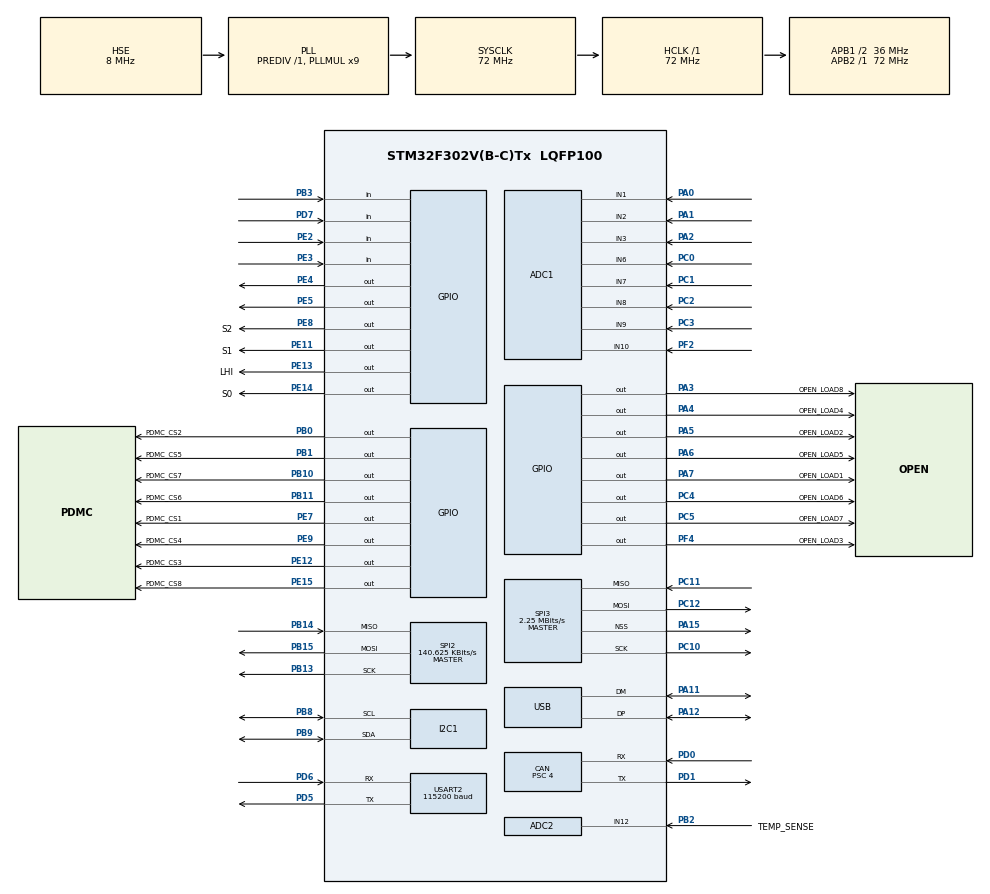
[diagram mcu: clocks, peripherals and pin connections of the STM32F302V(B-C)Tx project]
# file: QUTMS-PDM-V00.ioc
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ADC1.Channel-1\#ChannelRegularConversion=ADC_CHANNEL_1
ADC1.NbrOfConversionFlag=1
ADC1.Offset-1\#ChannelRegularConversion=0
ADC1.OffsetNumber-1\#ChannelRegularConversion=ADC_OFFSET_NONE
ADC1.Rank-1\#ChannelRegularConversion=1
ADC1.SamplingTime-1\#ChannelRegularConversion=ADC_SAMPLETIME_1CYCLE_5
ADC1.SubFamily=STM32F302xC
ADC1.master=1
ADC2.Channel-3\#ChannelRegularConversion=ADC_CHANNEL_12
ADC2.NbrOfConversionFlag=1
ADC2.Offset-3\#ChannelRegularConversion=0
ADC2.OffsetNumber-3\#ChannelRegularConversion=ADC_OFFSET_NONE
ADC2.Rank-3\#ChannelRegularConversion=1
ADC2.SamplingTime-3\#ChannelRegularConversion=ADC_SAMPLETIME_1CYCLE_5
ADC2.SamplingTimeOPAMP-3\#ChannelRegularConversion=ADC_SAMPLETIME_61CYCLES_5
ADC2.SubFamily=STM32F302xC
CAN.BS1=CAN_BS1_15TQ
CAN.BS2=CAN_BS2_2TQ
CAN.CalculateTimeQuantum=111.11111111111111
CAN.Prescaler=4
Mcu.Family=STM32F3
Mcu.Name=STM32F302V(B-C)Tx
Mcu.Package=LQFP100
NVIC.PriorityGroup=NVIC_PRIORITYGROUP_4
NVIC.TIM2_IRQn=true\:0\:0\:false\:false\:true\:true\:true
NVIC.TIM3_IRQn=true\:0\:0\:false\:false\:true\:true\:true
NVIC.TIM4_IRQn=true\:0\:0\:false\:false\:true\:true\:true
NVIC.USB_LP_IRQn=true\:0\:0\:false\:false\:true\:false\:true
PA0.GPIO_Mode=GPIO_MODE_ANALOG
PA0.GPIO_PuPd=GPIO_NOPULL
PA0.Mode=IN1-Single-Ended
PA0.Signal=ADC1_IN1
PA1.GPIO_Mode=GPIO_MODE_ANALOG
PA1.GPIO_PuPd=GPIO_NOPULL
PA1.Mode=IN2-Single-Ended
PA1.Signal=ADC1_IN2
PA11.Mode=Device
PA11.Signal=USB_DM
PA12.Mode=Device
PA12.Signal=USB_DP
PA13.Mode=Serial_Wire
PA13.Signal=SYS_JTMS-SWDIO
PA14.Mode=Serial_Wire
PA14.Signal=SYS_JTCK-SWCLK
PA15.Mode=NSS_Signal_Hard_Output
PA15.Signal=SPI3_NSS
PA2.GPIO_Mode=GPIO_MODE_ANALOG
PA2.GPIO_PuPd=GPIO_NOPULL
PA2.Mode=IN3-Single-Ended
PA2.Signal=ADC1_IN3
PA3.GPIO_Label=OPEN_LOAD8
PA3.GPIO_ModeDefaultOutputPP=GPIO_MODE_OUTPUT_PP
PA3.GPIO_PuPd=GPIO_NOPULL
PA3.GPIO_Speed=GPIO_SPEED_FREQ_LOW
PA3.PinState=GPIO_PIN_RESET
PA3.Signal=GPIO_Output
PA4.GPIO_Label=OPEN_LOAD4
PA4.GPIO_ModeDefaultOutputPP=GPIO_MODE_OUTPUT_PP
PA4.GPIO_PuPd=GPIO_NOPULL
PA4.GPIO_Speed=GPIO_SPEED_FREQ_LOW
PA4.PinState=GPIO_PIN_RESET
PA4.Signal=GPIO_Output
PA5.GPIO_Label=OPEN_LOAD2
PA5.GPIO_ModeDefaultOutputPP=GPIO_MODE_OUTPUT_PP
PA5.GPIO_PuPd=GPIO_NOPULL
PA5.GPIO_Speed=GPIO_SPEED_FREQ_LOW
PA5.PinState=GPIO_PIN_RESET
PA5.Signal=GPIO_Output
PA6.GPIO_Label=OPEN_LOAD5
PA6.GPIO_ModeDefaultOutputPP=GPIO_MODE_OUTPUT_PP
PA6.GPIO_PuPd=GPIO_NOPULL
PA6.GPIO_Speed=GPIO_SPEED_FREQ_LOW
PA6.PinState=GPIO_PIN_RESET
PA6.Signal=GPIO_Output
PA7.GPIO_Label=OPEN_LOAD1
PA7.GPIO_ModeDefaultOutputPP=GPIO_MODE_OUTPUT_PP
PA7.GPIO_PuPd=GPIO_NOPULL
PA7.GPIO_Speed=GPIO_SPEED_FREQ_LOW
PA7.PinState=GPIO_PIN_RESET
PA7.Signal=GPIO_Output
PB0.GPIO_Label=PDMC_CS2
PB0.GPIO_ModeDefaultOutputPP=GPIO_MODE_OUTPUT_PP
PB0.GPIO_PuPd=GPIO_NOPULL
PB0.GPIO_Speed=GPIO_SPEED_FREQ_LOW
PB0.PinState=GPIO_PIN_RESET
PB0.Signal=GPIO_Output
PB1.GPIO_Label=PDMC_CS5
PB1.GPIO_ModeDefaultOutputPP=GPIO_MODE_OUTPUT_PP
PB1.GPIO_PuPd=GPIO_NOPULL
PB1.GPIO_Speed=GPIO_SPEED_FREQ_LOW
PB1.PinState=GPIO_PIN_RESET
PB1.Signal=GPIO_Output
PB10.GPIO_Label=PDMC_CS7
PB10.GPIO_ModeDefaultOutputPP=GPIO_MODE_OUTPUT_PP
PB10.GPIO_PuPd=GPIO_NOPULL
PB10.GPIO_Speed=GPIO_SPEED_FREQ_LOW
PB10.PinState=GPIO_PIN_RESET
PB10.Signal=GPIO_Output
PB11.GPIO_Label=PDMC_CS6
PB11.GPIO_ModeDefaultOutputPP=GPIO_MODE_OUTPUT_PP
PB11.GPIO_PuPd=GPIO_NOPULL
PB11.GPIO_Speed=GPIO_SPEED_FREQ_LOW
PB11.PinState=GPIO_PIN_RESET
PB11.Signal=GPIO_Output
PB13.Mode=Full_Duplex_Master
PB13.Signal=SPI2_SCK
PB14.Mode=Full_Duplex_Master
PB14.Signal=SPI2_MISO
PB15.Mode=Full_Duplex_Master
PB15.Signal=SPI2_MOSI
PB2.GPIO_Label=TEMP_SENSE
PB2.GPIO_Mode=GPIO_MODE_ANALOG
PB2.GPIO_PuPd=GPIO_NOPULL
PB2.Mode=IN12-Single-Ended
PB2.Signal=ADC2_IN12
PB3.GPIO_Mode=GPIO_MODE_INPUT
PB3.GPIO_PuPd=GPIO_NOPULL
PB3.Signal=GPIO_Input
PB8.Mode=I2C
PB8.Signal=I2C1_SCL
PB9.Mode=I2C
PB9.Signal=I2C1_SDA
PC0.GPIO_Mode=GPIO_MODE_ANALOG
PC0.GPIO_PuPd=GPIO_NOPULL
PC0.Signal=ADCx_IN6
PC1.GPIO_Mode=GPIO_MODE_ANALOG
PC1.GPIO_PuPd=GPIO_NOPULL
PC1.Signal=ADCx_IN7
PC10.Mode=Full_Duplex_Master
PC10.Signal=SPI3_SCK
PC11.Mode=Full_Duplex_Master
PC11.Signal=SPI3_MISO
PC12.Mode=Full_Duplex_Master
PC12.Signal=SPI3_MOSI
PC2.GPIO_Mode=GPIO_MODE_ANALOG
PC2.GPIO_PuPd=GPIO_NOPULL
PC2.Signal=ADCx_IN8
PC3.GPIO_Mode=GPIO_MODE_ANALOG
PC3.GPIO_PuPd=GPIO_NOPULL
PC3.Signal=ADCx_IN9
PC4.GPIO_Label=OPEN_LOAD6
PC4.GPIO_ModeDefaultOutputPP=GPIO_MODE_OUTPUT_PP
PC4.GPIO_PuPd=GPIO_NOPULL
PC4.GPIO_Speed=GPIO_SPEED_FREQ_LOW
PC4.PinState=GPIO_PIN_RESET
PC4.Signal=GPIO_Output
PC5.GPIO_Label=OPEN_LOAD7
PC5.GPIO_ModeDefaultOutputPP=GPIO_MODE_OUTPUT_PP
PC5.GPIO_PuPd=GPIO_NOPULL
PC5.GPIO_Speed=GPIO_SPEED_FREQ_LOW
PC5.PinState=GPIO_PIN_RESET
PC5.Signal=GPIO_Output
PD0.Mode=Master
PD0.Signal=CAN_RX
PD1.Mode=Master
PD1.Signal=CAN_TX
PD5.Mode=Asynchronous
PD5.Signal=USART2_TX
PD6.Mode=Asynchronous
PD6.Signal=USART2_RX
PD7.GPIO_Mode=GPIO_MODE_INPUT
PD7.GPIO_PuPd=GPIO_NOPULL
PD7.Signal=GPIO_Input
PE11.GPIO_Label=S1
PE11.GPIO_ModeDefaultOutputPP=GPIO_MODE_OUTPUT_PP
PE11.GPIO_PuPd=GPIO_NOPULL
PE11.GPIO_Speed=GPIO_SPEED_FREQ_LOW
PE11.PinState=GPIO_PIN_RESET
PE11.Signal=GPIO_Output
PE12.GPIO_Label=PDMC_CS3
PE12.GPIO_ModeDefaultOutputPP=GPIO_MODE_OUTPUT_PP
PE12.GPIO_PuPd=GPIO_NOPULL
PE12.GPIO_Speed=GPIO_SPEED_FREQ_LOW
PE12.PinState=GPIO_PIN_RESET
PE12.Signal=GPIO_Output
PE13.GPIO_Label=LHI
PE13.GPIO_ModeDefaultOutputPP=GPIO_MODE_OUTPUT_PP
PE13.GPIO_PuPd=GPIO_NOPULL
PE13.GPIO_Speed=GPIO_SPEED_FREQ_LOW
PE13.PinState=GPIO_PIN_RESET
PE13.Signal=GPIO_Output
PE14.GPIO_Label=S0
PE14.GPIO_ModeDefaultOutputPP=GPIO_MODE_OUTPUT_PP
PE14.GPIO_PuPd=GPIO_NOPULL
PE14.GPIO_Speed=GPIO_SPEED_FREQ_LOW
PE14.PinState=GPIO_PIN_RESET
PE14.Signal=GPIO_Output
PE15.GPIO_Label=PDMC_CS8
PE15.GPIO_ModeDefaultOutputPP=GPIO_MODE_OUTPUT_PP
PE15.GPIO_PuPd=GPIO_NOPULL
PE15.GPIO_Speed=GPIO_SPEED_FREQ_LOW
PE15.PinState=GPIO_PIN_RESET
PE15.Signal=GPIO_Output
PE2.GPIO_Mode=GPIO_MODE_INPUT
PE2.GPIO_PuPd=GPIO_NOPULL
PE2.Signal=GPIO_Input
PE3.GPIO_Mode=GPIO_MODE_INPUT
PE3.GPIO_PuPd=GPIO_NOPULL
PE3.Signal=GPIO_Input
PE4.GPIO_ModeDefaultOutputPP=GPIO_MODE_OUTPUT_PP
PE4.GPIO_PuPd=GPIO_NOPULL
PE4.GPIO_Speed=GPIO_SPEED_FREQ_LOW
PE4.PinState=GPIO_PIN_RESET
PE4.Signal=GPIO_Output
PE5.GPIO_ModeDefaultOutputPP=GPIO_MODE_OUTPUT_PP
PE5.GPIO_PuPd=GPIO_NOPULL
PE5.GPIO_Speed=GPIO_SPEED_FREQ_LOW
PE5.PinState=GPIO_PIN_RESET
PE5.Signal=GPIO_Output
PE7.GPIO_Label=PDMC_CS1
PE7.GPIO_ModeDefaultOutputPP=GPIO_MODE_OUTPUT_PP
PE7.GPIO_PuPd=GPIO_NOPULL
PE7.GPIO_Speed=GPIO_SPEED_FREQ_LOW
PE7.PinState=GPIO_PIN_RESET
PE7.Signal=GPIO_Output
PE8.GPIO_Label=S2
PE8.GPIO_ModeDefaultOutputPP=GPIO_MODE_OUTPUT_PP
PE8.GPIO_PuPd=GPIO_NOPULL
PE8.GPIO_Speed=GPIO_SPEED_FREQ_LOW
PE8.PinState=GPIO_PIN_RESET
PE8.Signal=GPIO_Output
PE9.GPIO_Label=PDMC_CS4
PE9.GPIO_ModeDefaultOutputPP=GPIO_MODE_OUTPUT_PP
PE9.GPIO_PuPd=GPIO_NOPULL
PE9.GPIO_Speed=GPIO_SPEED_FREQ_LOW
PE9.PinState=GPIO_PIN_RESET
PE9.Signal=GPIO_Output
PF0-OSC_IN.Mode=HSE-External-Oscillator
PF0-OSC_IN.Signal=RCC_OSC_IN
PF1-OSC_OUT.Mode=HSE-External-Oscillator
PF1-OSC_OUT.Signal=RCC_OSC_OUT
PF2.GPIO_Mode=GPIO_MODE_ANALOG
PF2.GPIO_PuPd=GPIO_NOPULL
PF2.Signal=ADCx_IN10
PF4.GPIO_Label=OPEN_LOAD3
PF4.GPIO_ModeDefaultOutputPP=GPIO_MODE_OUTPUT_PP
PF4.GPIO_PuPd=GPIO_NOPULL
PF4.GPIO_Speed=GPIO_SPEED_FREQ_LOW
PF4.PinState=GPIO_PIN_RESET
PF4.Signal=GPIO_Output
ProjectManager.HeapSize=0x200
ProjectManager.StackSize=0x400
ProjectManager.TargetToolchain=STM32CubeIDE
RCC.AHBFreq_Value=72000000
RCC.APB1CLKDivider=RCC_HCLK_DIV2
RCC.APB1Freq_Value=36000000
RCC.APB1TimFreq_Value=72000000
RCC.APB2Freq_Value=72000000
RCC.APB2TimFreq_Value=72000000
RCC.CortexFreq_Value=72000000
RCC.HCLKFreq_Value=72000000
RCC.HSE_VALUE=8000000
RCC.HSI_VALUE=8000000
RCC.LSE_VALUE=32768
RCC.PLLMUL=RCC_PLL_MUL9
RCC.PRESCALERUSB=RCC_USBCLKSOURCE_PLL_DIV1_5
RCC.SYSCLKFreq_VALUE=72000000
RCC.SYSCLKSourceVirtual=RCC_SYSCLKSOURCE_PLLCLK
RCC.USBFreq_Value=48000000
SH.ADCx_IN10.0=ADC1_IN10,IN10-Single-Ended
SH.ADCx_IN6.0=ADC1_IN6,IN6-Single-Ended
SH.ADCx_IN7.0=ADC1_IN7,IN7-Single-Ended
SH.ADCx_IN8.0=ADC1_IN8,IN8-Single-Ended
SH.ADCx_IN9.0=ADC1_IN9,IN9-Single-Ended
SPI2.BaudRatePrescaler=SPI_BAUDRATEPRESCALER_256
SPI2.CLKPhase=SPI_PHASE_2EDGE
SPI2.CalculateBaudRate=140.625 KBits/s
SPI2.DataSize=SPI_DATASIZE_8BIT
SPI2.Direction=SPI_DIRECTION_2LINES
SPI2.Mode=SPI_MODE_MASTER
SPI2.VirtualType=VM_MASTER
SPI3.BaudRatePrescaler=SPI_BAUDRATEPRESCALER_16
SPI3.CalculateBaudRate=2.25 MBits/s
SPI3.Direction=SPI_DIRECTION_2LINES
SPI3.Mode=SPI_MODE_MASTER
SPI3.VirtualNSS=VM_NSSHARD
SPI3.VirtualType=VM_MASTER
TIM2.AutoReloadPreload=TIM_AUTORELOAD_PRELOAD_ENABLE
TIM2.Period=3600
TIM2.Prescaler=1000
TIM3.AutoReloadPreload=TIM_AUTORELOAD_PRELOAD_ENABLE
TIM3.Period=100
TIM3.Prescaler=72
TIM4.AutoReloadPreload=TIM_AUTORELOAD_PRELOAD_ENABLE
TIM4.Prescaler=50
USART2.BaudRate=115200
USART2.VirtualMode-Asynchronous=VM_ASYNC
USB_DEVICE.CLASS_NAME_FS=MSC
USB_DEVICE.VirtualMode=Msc
USB_DEVICE.VirtualModeFS=Msc_FS
VP_FATFS_VS_Generic.Mode=User_defined
VP_RTC_VS_RTC_Activate.Mode=RTC_Enabled
VP_TIM2_VS_ClockSourceINT.Mode=Internal
VP_TIM3_VS_ClockSourceINT.Mode=Internal
VP_TIM4_VS_ClockSourceINT.Mode=Internal
VP_USB_DEVICE_VS_USB_DEVICE_MSC_FS.Mode=MSC_FS
board=custom

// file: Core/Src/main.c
/* USER CODE BEGIN Header */
/**
 ******************************************************************************
 * @file           : main.c
 * @brief          : Main program body
 ******************************************************************************
 * @attention
 *
 * <h2><center>&copy; Copyright (c) 2020 STMicroelectronics.
 * All rights reserved.</center></h2>
 *
 * This software component is licensed by ST under BSD 3-Clause license,
 * the "License"; You may not use this file except in compliance with the
 * License. You may obtain a copy of the License at:
 *                        opensource.org/licenses/BSD-3-Clause
 *
 ******************************************************************************
 */
/* USER CODE END Header */
#include "main.h"
#include "adc.h"
#include "can.h"
#include "fatfs.h"
#include "i2c.h"
#include "rtc.h"
#include "spi.h"
#include "tim.h"
#include "usart.h"
#include "usb_device.h"
#include "gpio.h"
#include "bmi160_Bosch.h"

/* USER CODE BEGIN Includes */
//#include "fatfs.h"
#include "bts7xx.h"
#include "stm32f3xx_it.h"
/* USER CODE END Includes */

/* USER CODE BEGIN PD */
#define NUM_CARDS_USED 8
#define NUM_CARDS 8
#define NUM_CHANNELS 4

#define TIMEOUT_MINUTE 60000
/* USER CODE END PD */

/* USER CODE BEGIN PV */
GPIO_TypeDef *card_ports[NUM_CARDS_USED] = { PDMC_CS7_GPIO_Port,
PDMC_CS6_GPIO_Port, PDMC_CS1_GPIO_Port, PDMC_CS5_GPIO_Port, PDMC_CS2_GPIO_Port,
PDMC_CS4_GPIO_Port, PDMC_CS3_GPIO_Port, PDMC_CS8_GPIO_Port };
uint16_t card_pins[NUM_CARDS_USED] = { PDMC_CS7_Pin,
PDMC_CS6_Pin, PDMC_CS1_Pin, PDMC_CS5_Pin, PDMC_CS2_Pin, PDMC_CS4_Pin,
PDMC_CS3_Pin, PDMC_CS8_Pin };

//SPI_HandleTypeDef hspi2;
/* USER CODE END PV */

void SystemClock_Config(void);

/* USER CODE BEGIN 0 */

volatile uint32_t current_state;
volatile uint32_t user_channels;
volatile uint32_t pwm_channels;
volatile uint8_t user_dutycycles[32];
volatile uint8_t current_dutycycles[32];

uint32_t read_channel_states();
void CAN_set_channel_states(uint32_t new_state);
void CAN_set_pwm_duty_cycle(uint8_t channel, uint8_t duty_cycle);

/* USER CODE END 0 */

/* USER CODE BEGIN 1 */
// Writing functions for function pointers

int8_t bmi_read_i2c(uint8_t dev_addr, uint8_t reg_addr, uint8_t *data,
		uint16_t len);
int8_t bmi_write_i2c(uint8_t dev_addr, uint8_t reg_addr, uint8_t *buffer,
		uint16_t len);
int8_t bmi_delay_i2c(uint32_t period);

/* USER CODE END 1 */

int main(void) {

	/* MCU Configuration--------------------------------------------------------*/

	/* Reset of all peripherals, Initializes the Flash interface and the Systick. */
	HAL_Init();

	/* Configure the system clock */
	SystemClock_Config();

	/* Initialize all configured peripherals */
	MX_GPIO_Init();
	MX_ADC1_Init();
	MX_ADC2_Init();
	MX_CAN_Init();
	MX_I2C1_Init();
	MX_RTC_Init();
	MX_SPI2_Init();
	MX_SPI3_Init();
	MX_USART2_UART_Init();
	MX_USB_DEVICE_Init();
	MX_FATFS_Init();
	MX_TIM2_Init();
	MX_TIM3_Init();
	MX_TIM4_Init();
	/* USER CODE BEGIN 2 */

	// start can
	Configure_CAN(&hcan);

	HAL_GPIO_WritePin(PDMC_CS5_GPIO_Port, PDMC_CS5_Pin, GPIO_PIN_SET);
	HAL_GPIO_WritePin(PDMC_CS6_GPIO_Port, PDMC_CS6_Pin, GPIO_PIN_SET);
	HAL_GPIO_WritePin(PDMC_CS1_GPIO_Port, PDMC_CS1_Pin, GPIO_PIN_SET);
	HAL_GPIO_WritePin(PDMC_CS7_GPIO_Port, PDMC_CS7_Pin, GPIO_PIN_SET);

	uint8_t receiveBuff;

	uint16_t Tx16SPIBuffer[1] = { 0 };
	uint16_t RxSPIBuffer[1] = { 0 };
	Tx16SPIBuffer[0] = 0xFFFF;
	RxSPIBuffer[0] = 0xFFFF;
	HAL_SPI_TransmitReceive(&hspi2, (uint8_t*) Tx16SPIBuffer,
			(uint8_t*) RxSPIBuffer, 1, 1000);

	//  Set DCR register, with SWR set to 0 - bit needs to be set for writing a register
	uint8_t DCR = 0x00;
	for (int i = 0; i < NUM_CARDS_USED; i++) {
		receiveBuff = BTS7XX_WriteRegister(&hspi2, BTS7XX_WRITE_DCR_COMMAND,
				&DCR, card_ports[i], card_pins[i]);
	}

	//  BTS7XX_OCR_OBJ ocrObj;

	user_channels = 0;
	pwm_channels = 0;
	current_state = 0;

	memset(user_dutycycles, 0, 32 * sizeof(uint8_t));
	memset(current_dutycycles, 0, 32 * sizeof(uint8_t));
	// Configure channels - everything start off??
	set_channel_states(0);

	HAL_Delay(1000);

	// Configure channels to enable CC
	CAN_set_channel_states(PDM_POWER_CC_MASK);

	//Test by setting all states high
//	set_channel_states(UINT32_MAX);

	uint32_t init_startup_id = Compose_CANId(CAN_PRIORITY_NORMAL,
			CAN_SRC_ID_PDM, 0x0, CAN_TYPE_RECEIVE, 0x00, 0x0);
	uint32_t setchannelID = Compose_CANId(CAN_PRIORITY_NORMAL, CAN_SRC_ID_PDM,
			0x0, CAN_TYPE_RECEIVE, 0x02, 0x00);
	uint32_t requestDutyCycleID = Compose_CANId(CAN_PRIORITY_NORMAL,
			CAN_SRC_ID_PDM, 0x0, CAN_TYPE_RECEIVE, 0x3, 0x0);
	uint32_t setDutyCycleID = Compose_CANId(CAN_PRIORITY_NORMAL, CAN_SRC_ID_PDM,
			0x0, CAN_TYPE_RECEIVE, 0x4, 0x0);

	// setup messages
	PDM_Heartbeat_t heartbeat_msg;
	PDM_TransmitDutyCycle_t transmit_cycle_msg;
	CAN_TxHeaderTypeDef header = { 0 };
	header.IDE = CAN_ID_EXT;
	header.RTR = CAN_RTR_DATA;
	header.TransmitGlobalTime = DISABLE;
	HAL_StatusTypeDef result;
	uint32_t txMailbox = 0;

	// startup sequence
	/*
	 // wait for initiate startup
	 uint8_t wait_flag = 0;
	 while (!wait_flag) {
	 while (HAL_CAN_GetRxFifoFillLevel(&hcan, CAN_RX_FIFO0) > 0) {
	 // pull msg out
	 CAN_MSG_Generic_t msg;
	 HAL_CAN_GetRxMessage(&hcan, CAN_RX_FIFO0, &(msg.header), msg.data);

	 // PDM_SetChannelStates
	 if (msg.header.ExtId == init_startup_id) {
	 wait_flag = 1;
	 break;
	 }

	 }

	 HAL_Delay(1);
	 }
	 */

	// send startup ok
	current_state = read_channel_states();
	PDM_StartupOk_t startupOk_msg = Compose_PDM_StartupOk(current_state);
	header.ExtId = startupOk_msg.id;
	header.DLC = sizeof(startupOk_msg.data);
	result = HAL_CAN_AddTxMessage(&hcan, &header, startupOk_msg.data,
			&txMailbox);

	// start heartbeat timer
	if (HAL_TIM_Base_Start_IT(&htim2) != HAL_OK) {
		Error_Handler();
	}

	// start PWM timer
	if (HAL_TIM_Base_Start_IT(&htim3) != HAL_OK) {
		Error_Handler();
	}

	// start duty_cycle ramper timer
	if (HAL_TIM_Base_Start_IT(&htim4) != HAL_OK) {
		Error_Handler();
	}

	struct bmi160_dev sensor;

		sensor.id = BMI160_I2C_ADDR;
		sensor.interface = BMI160_I2C_INTF;
		sensor.read = bmi_read_i2c;
		sensor.write = bmi_write_i2c;
		sensor.delay_ms = bmi_delay_i2c;

		int8_t rslt = BMI160_OK;
		rslt = bmi160_init(&sensor);

		rslt = BMI160_OK;

		/* Select the Output data rate, range of accelerometer sensor */
		sensor.accel_cfg.odr = BMI160_ACCEL_ODR_1600HZ;
		sensor.accel_cfg.range = BMI160_ACCEL_RANGE_2G;
		sensor.accel_cfg.bw = BMI160_ACCEL_BW_NORMAL_AVG4;

		/* Select the power mode of accelerometer sensor */
		sensor.accel_cfg.power = BMI160_ACCEL_NORMAL_MODE;

		/* Select the Output data rate, range of Gyroscope sensor */
		sensor.gyro_cfg.odr = BMI160_GYRO_ODR_3200HZ;
		sensor.gyro_cfg.range = BMI160_GYRO_RANGE_2000_DPS;
		sensor.gyro_cfg.bw = BMI160_GYRO_BW_NORMAL_MODE;

		/* Select the power mode of Gyroscope sensor */
		sensor.gyro_cfg.power = BMI160_GYRO_NORMAL_MODE;

		/* Set the sensor configuration */
		rslt = bmi160_set_sens_conf(&sensor);

	/* USER CODE END 2 */

	/* After the above function call, accel and gyro parameters in the device structure
	 are set with default values, found in the datasheet of the sensor */

	/* Infinite loop */
	/* USER CODE BEGIN WHILE */
	int i = 0;

	char msg[100];

	while (1) {

		int8_t a_rslt = BMI160_OK;
		int8_t g_rslt = BMI160_OK;
		struct bmi160_sensor_data accel;
		struct bmi160_sensor_data gyro;

		// Read Accel data
		a_rslt = bmi160_get_sensor_data(BMI160_ACCEL_SEL, &accel, NULL, &sensor);

		int16_t acc_x = (accel.x)*9.8/(MAX_15bit / ACCEL_RANGE); // sensitivity = (2^15)/(range*9.8) = 16384/9.8
		int16_t acc_y = (accel.y)*9.8/(MAX_15bit / ACCEL_RANGE);
		int16_t acc_z = (accel.z)*9.8/(MAX_15bit / ACCEL_RANGE);

		sprintf(msg, "Acc - r: %d, a: (%d,\t%d,\t%d) m/s^2.\r\n", a_rslt, acc_x,acc_y,acc_z);
		HAL_UART_Transmit(&huart2, (uint8_t*) msg, strlen((char*) msg),HAL_MAX_DELAY);
		i++;

		HAL_Delay(100);

		// Read Gyro data

		g_rslt = bmi160_get_sensor_data(BMI160_GYRO_SEL, NULL, &gyro, &sensor);

		int16_t gyr_x = (gyro.x)*GYR_RANGE/MAX_15bit; // sensitivity = (2^15)/range
		int16_t gyr_y = (gyro.y)*GYR_RANGE/MAX_15bit;
		int16_t gyr_z = (gyro.z)*GYR_RANGE/MAX_15bit;

		sprintf(msg, "Gyr - r: %d, a: (%d,\t%d,\t%d) °/s.\r\n", g_rslt, gyr_x,gyr_y,gyr_z);
				HAL_UART_Transmit(&huart2, (uint8_t*) msg, strlen((char*) msg),
				HAL_MAX_DELAY);

		// read current state
		current_state = read_channel_states();

		// send heartbeat if enough time has passed
		if (send_heartbeat == 1) {
			heartbeat_msg = Compose_PDM_Heartbeat(current_state);
			header.ExtId = heartbeat_msg.id;
			header.DLC = sizeof(heartbeat_msg.data);
			result = HAL_CAN_AddTxMessage(&hcan, &header, heartbeat_msg.data,
					&txMailbox);
			send_heartbeat = 0;
		}

		// check message queue
		while (HAL_CAN_GetRxFifoFillLevel(&hcan, CAN_RX_FIFO0) > 0) {
			// pull msg out
			CAN_MSG_Generic_t msg;
			HAL_CAN_GetRxMessage(&hcan, CAN_RX_FIFO0, &(msg.header), msg.data);

			// PDM_SetChannelStates
			if (msg.header.ExtId == setchannelID) {
				uint32_t set_channels = 0;
				Parse_PDM_SetChannelStates(msg.data, &set_channels);

				CAN_set_channel_states(set_channels);

			} else if (msg.header.ExtId == requestDutyCycleID) {
				uint8_t channel = 0;
				Parse_PDM_RequestDutyCycle(msg.data, &channel);

				transmit_cycle_msg = Compose_PDM_TransmitDutyCycle(channel,
						user_dutycycles[channel]);
				header.ExtId = transmit_cycle_msg.id;
				header.DLC = sizeof(transmit_cycle_msg.data);
				result = HAL_CAN_AddTxMessage(&hcan, &header,
						transmit_cycle_msg.data, &txMailbox);

			} else if (msg.header.ExtId == setDutyCycleID) {
				uint8_t channel = 0;
				uint8_t duty_cycle = 0;
				Parse_PDM_SetDutyCycle(msg.data, &channel, &duty_cycle);

				CAN_set_pwm_duty_cycle(channel, duty_cycle);
			}

		}

		// Construct CAN message for accelerometer values

		/* USER CODE END WHILE */

	}
}

void SystemClock_Config(void) {
	RCC_OscInitTypeDef RCC_OscInitStruct = { 0 };
	RCC_ClkInitTypeDef RCC_ClkInitStruct = { 0 };
	RCC_PeriphCLKInitTypeDef PeriphClkInit = { 0 };

	/** Initializes the RCC Oscillators according to the specified parameters
	 * in the RCC_OscInitTypeDef structure.
	 */
	RCC_OscInitStruct.OscillatorType = RCC_OSCILLATORTYPE_HSI
			| RCC_OSCILLATORTYPE_LSI | RCC_OSCILLATORTYPE_HSE;
	RCC_OscInitStruct.HSEState = RCC_HSE_ON;
	RCC_OscInitStruct.HSEPredivValue = RCC_HSE_PREDIV_DIV1;
	RCC_OscInitStruct.HSIState = RCC_HSI_ON;
	RCC_OscInitStruct.HSICalibrationValue = RCC_HSICALIBRATION_DEFAULT;
	RCC_OscInitStruct.LSIState = RCC_LSI_ON;
	RCC_OscInitStruct.PLL.PLLState = RCC_PLL_ON;
	RCC_OscInitStruct.PLL.PLLSource = RCC_PLLSOURCE_HSE;
	RCC_OscInitStruct.PLL.PLLMUL = RCC_PLL_MUL9;
	if (HAL_RCC_OscConfig(&RCC_OscInitStruct) != HAL_OK) {
		Error_Handler();
	}
	/** Initializes the CPU, AHB and APB buses clocks
	 */
	RCC_ClkInitStruct.ClockType = RCC_CLOCKTYPE_HCLK | RCC_CLOCKTYPE_SYSCLK
			| RCC_CLOCKTYPE_PCLK1 | RCC_CLOCKTYPE_PCLK2;
	RCC_ClkInitStruct.SYSCLKSource = RCC_SYSCLKSOURCE_PLLCLK;
	RCC_ClkInitStruct.AHBCLKDivider = RCC_SYSCLK_DIV1;
	RCC_ClkInitStruct.APB1CLKDivider = RCC_HCLK_DIV2;
	RCC_ClkInitStruct.APB2CLKDivider = RCC_HCLK_DIV1;

	if (HAL_RCC_ClockConfig(&RCC_ClkInitStruct, FLASH_LATENCY_2) != HAL_OK) {
		Error_Handler();
	}
	PeriphClkInit.PeriphClockSelection = RCC_PERIPHCLK_USB
			| RCC_PERIPHCLK_USART2 | RCC_PERIPHCLK_I2C1 | RCC_PERIPHCLK_RTC
			| RCC_PERIPHCLK_ADC12;
	PeriphClkInit.Usart2ClockSelection = RCC_USART2CLKSOURCE_PCLK1;
	PeriphClkInit.Adc12ClockSelection = RCC_ADC12PLLCLK_DIV1;
	PeriphClkInit.I2c1ClockSelection = RCC_I2C1CLKSOURCE_HSI;
	PeriphClkInit.RTCClockSelection = RCC_RTCCLKSOURCE_LSI;
	PeriphClkInit.USBClockSelection = RCC_USBCLKSOURCE_PLL_DIV1_5;
	if (HAL_RCCEx_PeriphCLKConfig(&PeriphClkInit) != HAL_OK) {
		Error_Handler();
	}
}

/* USER CODE BEGIN 4 */

int8_t bmi_read_i2c(uint8_t dev_addr, uint8_t reg_addr, uint8_t *data,
		uint16_t len) {
	uint8_t address = dev_addr << 1 | 0;
	HAL_StatusTypeDef result = HAL_I2C_Master_Transmit(&hi2c1, address,
			&reg_addr, 1,
			TIMEOUT_MINUTE);

	if (result != HAL_OK) {
		// unable to send read request correctly
		return result;
	} else {
		return HAL_I2C_Master_Receive(&hi2c1, address, data, len,
				TIMEOUT_MINUTE);
	}
}

int8_t bmi_write_i2c(uint8_t dev_addr, uint8_t reg_addr, uint8_t *buffer,
		uint16_t len) {

	uint8_t address = dev_addr << 1 | 0;

	// no crc as chip doesn't support it

	// transmit register as first byte, then all of buffer according to length

	uint8_t dataLength = 1 + len;
	uint8_t *data = (uint8_t*) calloc(dataLength, sizeof(uint8_t));
	data[0] = reg_addr;

	memcpy(data + 1, buffer, len);

	HAL_StatusTypeDef result = HAL_I2C_Master_Transmit(&hi2c1, address, data,
			dataLength, TIMEOUT_MINUTE);

	// clean up dynamic memory
	free(data);

	return result;
}

int8_t bmi_delay_i2c(uint32_t period) {
	// delay ms function
	HAL_Delay(period);
}

/* USER CODE END 4 */

/* USER CODE BEGIN 5 */

void CAN_set_channel_states(uint32_t new_state) {
	uint32_t prim = __get_PRIMASK();

	// disable interrupts
	__disable_irq();

	// remove PWM channels so we don't overwrite any current PWM stuff
	// these will be handled in PWM timers
	user_channels = new_state & (~PWM_CHANNELS);
	pwm_channels = (new_state & PWM_CHANNELS);

	new_state = ((current_state & PWM_CHANNELS) | user_channels);
	set_channel_states(new_state);

	// enable interrupts if previously enabled
	if (!prim) {
		__enable_irq();
	}

}

void CAN_set_pwm_duty_cycle(uint8_t channel, uint8_t duty_cycle) {
	uint32_t prim = __get_PRIMASK();

	// disable interrupts
	__disable_irq();

	// remove possible invalid indicies
	if (channel > 31) {
		channel = 0;
	}

	if (duty_cycle > MAX_DUTY_CYCLE) {
		duty_cycle = MAX_DUTY_CYCLE;
	}

	user_dutycycles[channel] = duty_cycle;

	// enable interrupts if previously enabled
	if (!prim) {
		__enable_irq();
	}
}

void set_channel_states(uint32_t powerChannels) {
	// pull out each of the 8 channels

	current_state = powerChannels;

	// set states physically
	for (int i = 0; i < NUM_CARDS_USED; i++) {
		uint8_t value = (current_state >> (i * 4)) & 0xF;
		BTS7XX_WriteRegister(&hspi2, BTS7XX_WRITE_OUT_COMMAND, &value,
				card_ports[i], card_pins[i]);
	}
}

uint32_t read_channel_states() {
	uint32_t channel_values = 0;
	for (int i = 0; i < NUM_CARDS_USED; i++) {
		uint8_t result = BTS7XX_ReadRegister(&hspi2, BTS7XX_READ_OUT_COMMAND,
				card_ports[i], card_pins[i]);
		channel_values |= (result & 0xF) << (i * 4);
	}
	return channel_values;
}

/* USER CODE END 5 */

void Error_Handler(void) {
}

/************************ (C) COPYRIGHT STMicroelectronics *****END OF FILE****/
